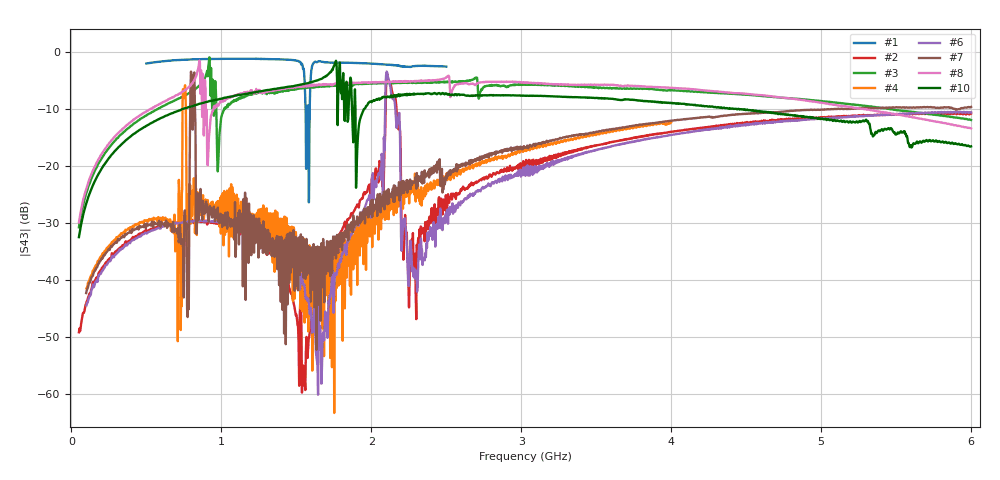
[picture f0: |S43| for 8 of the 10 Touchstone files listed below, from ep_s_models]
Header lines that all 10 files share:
! Matrix data file written by TouchstoneData, EPCOS AG
! INFO: nport=4, nfreq=1601
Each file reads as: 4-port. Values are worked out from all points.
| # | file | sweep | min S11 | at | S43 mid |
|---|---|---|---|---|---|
| 1 | B3470_WB_UN.s4p | 500 MHz to 2.5 GHz | -11.1 dB | 1.53 GHz | -1.6 dB at 1.5 GHz |
| 2 | B4400_WB_UN.s4p | 50 MHz to 6 GHz | -18.3 dB | 1.887 GHz | -19.6 dB at 3.025 GHz |
| 3 | B4401_WB_UN.s4p | 50 MHz to 6 GHz | -21.6 dB | 920.2 MHz | -5.8 dB at 3.025 GHz |
| 4 | B4402_WB.s4p | 100 MHz to 4 GHz | -31.1 dB | 775.2 MHz | -27.7 dB at 2.05 GHz |
| 5 | B4402_WB_UN.s4p | 100 MHz to 4 GHz | -22.8 dB | 811.8 MHz | -27.7 dB at 2.05 GHz |
| 6 | B4403_WB_UN.s4p | 100 MHz to 6 GHz | -22.6 dB | 4.639 GHz | -20.6 dB at 3.05 GHz |
| 7 | B4404_WB_UN.s4p | 98.34 MHz to 6 GHz | -12.5 dB | 842.1 MHz | -16.5 dB at 3.051 GHz |
| 8 | B4405_WB_UN.s4p | 50 MHz to 6 GHz | -11.5 dB | 842.1 MHz | -5.4 dB at 3.025 GHz |
| 9 | B4406_WB.s4p | 50 MHz to 6 GHz | -22.6 dB | 1.731 GHz | -10.9 dB at 3.025 GHz |
| 10 | B4406_WB_UN.s4p | 50 MHz to 6 GHz | -19.1 dB | 1.705 GHz | -7.7 dB at 3.025 GHz |
